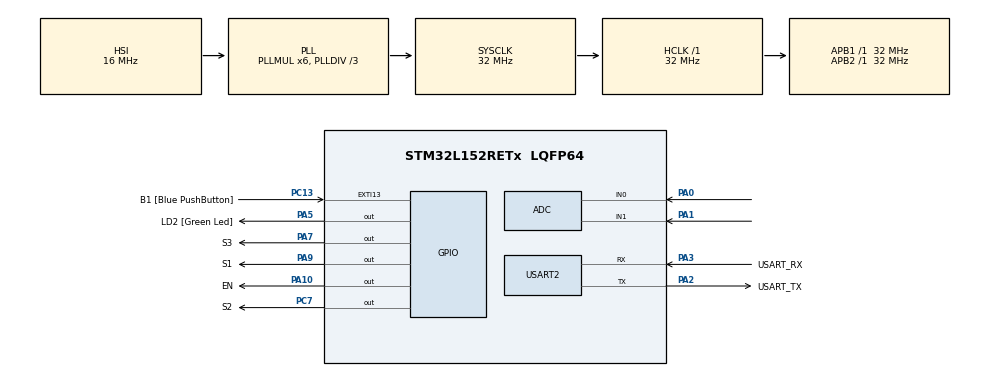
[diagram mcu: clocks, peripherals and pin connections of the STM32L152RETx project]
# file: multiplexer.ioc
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ADC.Channel-0\#ChannelRegularConversion=ADC_CHANNEL_0
ADC.NbrOfConversionFlag=1
ADC.Rank-0\#ChannelRegularConversion=1
ADC.SamplingTime-0\#ChannelRegularConversion=ADC_SAMPLETIME_4CYCLES
Mcu.Family=STM32L1
Mcu.Name=STM32L152RETx
Mcu.Package=LQFP64
NVIC.PriorityGroup=NVIC_PRIORITYGROUP_0
PA0-WKUP1.Mode=IN0
PA0-WKUP1.Signal=ADC_IN0
PA1.Mode=IN1
PA1.Signal=ADC_IN1
PA10.GPIO_Label=EN
PA10.Signal=GPIO_Output
PA13.GPIO_Label=TMS
PA13.Mode=Serial_Wire
PA13.Signal=SYS_JTMS-SWDIO
PA14.GPIO_Label=TCK
PA14.Mode=Serial_Wire
PA14.Signal=SYS_JTCK-SWCLK
PA2.GPIO_Label=USART_TX
PA2.Mode=Asynchronous
PA2.Signal=USART2_TX
PA3.GPIO_Label=USART_RX
PA3.Mode=Asynchronous
PA3.Signal=USART2_RX
PA5.GPIO_Label=LD2 [Green Led]
PA5.Signal=GPIO_Output
PA7.GPIO_Label=S3
PA7.Signal=GPIO_Output
PA9.GPIO_Label=S1
PA9.Signal=GPIO_Output
PB3.GPIO_Label=SWO
PB3.Signal=SYS_JTDO-TRACESWO
PC13-WKUP2.GPIO_Label=B1 [Blue PushButton]
PC13-WKUP2.Signal=GPXTI13
PC14-OSC32_IN.Mode=LSE-External-Oscillator
PC14-OSC32_IN.Signal=RCC_OSC32_IN
PC15-OSC32_OUT.Mode=LSE-External-Oscillator
PC15-OSC32_OUT.Signal=RCC_OSC32_OUT
PC7.GPIO_Label=S2
PC7.Signal=GPIO_Output
PH0-OSC_IN.Mode=HSE-External-Clock-Source
PH0-OSC_IN.Signal=RCC_OSC_IN
PH1-OSC_OUT.Signal=RCC_OSC_OUT
ProjectManager.HeapSize=0x200
ProjectManager.StackSize=0x400
ProjectManager.TargetToolchain=STM32CubeIDE
RCC.48MHZClocksFreq_Value=48000000
RCC.AHBFreq_Value=32000000
RCC.APB1Freq_Value=32000000
RCC.APB1TimFreq_Value=32000000
RCC.APB2Freq_Value=32000000
RCC.APB2TimFreq_Value=32000000
RCC.HCLKFreq_Value=32000000
RCC.HSE_VALUE=8000000
RCC.HSI_VALUE=16000000
RCC.MSI_VALUE=2097000
RCC.PLLDIV=RCC_PLL_DIV3
RCC.PLLMUL=RCC_PLL_MUL6
RCC.RTCClockSelectionVirtual=RCC_RTCCLKSOURCE_LSE
RCC.SYSCLKFreq_VALUE=32000000
RCC.SYSCLKSource=RCC_SYSCLKSOURCE_PLLCLK
RCC.USBOutput=48000000
RCC.VCOOutputFreq_Value=96000000
USART2.VirtualMode=VM_ASYNC
board=NUCLEO-L152RE

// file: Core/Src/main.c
/* USER CODE BEGIN Header */
/**
  ******************************************************************************
  * @file           : main.c
  * @brief          : Main program body
  ******************************************************************************
  * @attention
  *
  * Copyright (c) 2023 STMicroelectronics.
  * All rights reserved.
  *
  * This software is licensed under terms that can be found in the LICENSE file
  * in the root directory of this software component.
  * If no LICENSE file comes with this software, it is provided AS-IS.
  *
  ******************************************************************************
  */
/* USER CODE END Header */
#include "main.h"

/* USER CODE BEGIN Includes */
#include <stdio.h>
#include <string.h>
/* USER CODE END Includes */

ADC_HandleTypeDef hadc;

UART_HandleTypeDef huart2;

void SystemClock_Config(void);
static void MX_GPIO_Init(void);
static void MX_USART2_UART_Init(void);
static void MX_ADC_Init(void);

/* USER CODE BEGIN 0 */
#define SelectPinsPort GPIOA
#define Vref 3.3
#define ADC_RES 4095

const int SelectPins[3] = {S1_Pin, S2_Pin, S3_Pin};

void selectMuxPin(int pin)
{
	for(int i = 0; i < 3; i++)
	{
		if(pin & (1 << i))
			HAL_GPIO_WritePin(SelectPinsPort, SelectPins[i], GPIO_PIN_SET);
		else
			HAL_GPIO_WritePin(SelectPinsPort, SelectPins[i], GPIO_PIN_RESET);

	}
}

float value[3] = {0.0f, 0.0f ,0.0f};
/* USER CODE END 0 */

int main(void)
{
  /* USER CODE BEGIN 1 */
	uint16_t raw;
	char buffer[100];
	float voltages[3];
	float temperature;
	float TotalVoltage = 0.0f;
  /* USER CODE END 1 */

  /* MCU Configuration--------------------------------------------------------*/

  /* Reset of all peripherals, Initializes the Flash interface and the Systick. */
  HAL_Init();

  /* Configure the system clock */
  SystemClock_Config();

  /* Initialize all configured peripherals */
  MX_GPIO_Init();
  MX_USART2_UART_Init();
  MX_ADC_Init();
  /* USER CODE BEGIN 2 */
   // HAL_GPIO_WritePin(GPIOA, EN_Pin, RESET);
  for(int i = 0; i < 3; i++)
  	{

  	HAL_GPIO_WritePin(SelectPinsPort, SelectPins[i], GPIO_PIN_SET);
  	}
  /* USER CODE END 2 */

  /* Infinite loop */
  while (1)
  {

    /* USER CODE BEGIN 3 */
	  for(int i = 0; i < 3; i++)
	  {
		  selectMuxPin(i);
		  HAL_ADC_Start(&hadc);

		  HAL_ADC_PollForConversion(&hadc, HAL_MAX_DELAY);
		  value[i] = HAL_ADC_GetValue(&hadc);
		  raw = HAL_ADC_GetValue(&hadc);

		  temperature = ((float)raw / 4095.0) * 3300.0 / 10.0;

		  HAL_ADC_Stop(&hadc);

	  }

	  for(int i = 0; i < 3; i++)
	  {
		  voltages[i] = (value[i] / ADC_RES) * Vref;
		  snprintf(buffer,sizeof(buffer), "Voltage at channel(%d): %.2f\r\n",i,voltages[i]);
		  HAL_UART_Transmit(&huart2, (uint8_t*)buffer, strlen(buffer), HAL_MAX_DELAY);
		  HAL_Delay(1000);

		  TotalVoltage += voltages[i];
	  }

	  	  snprintf(buffer, sizeof(buffer), "Total Voltage: %.2f\r\n", TotalVoltage);
	      HAL_UART_Transmit(&huart2, (uint8_t*)buffer, strlen(buffer), HAL_MAX_DELAY);

	      snprintf(buffer, sizeof(buffer), "Temperature: %.2f\r\n", temperature);
	      HAL_UART_Transmit(&huart2, (uint8_t*)buffer, strlen(buffer), HAL_MAX_DELAY);

  }
  /* USER CODE END 3 */
}

void SystemClock_Config(void)
{
  RCC_OscInitTypeDef RCC_OscInitStruct = {0};
  RCC_ClkInitTypeDef RCC_ClkInitStruct = {0};

  /** Configure the main internal regulator output voltage
  */
  __HAL_PWR_VOLTAGESCALING_CONFIG(PWR_REGULATOR_VOLTAGE_SCALE1);

  /** Initializes the RCC Oscillators according to the specified parameters
  * in the RCC_OscInitTypeDef structure.
  */
  RCC_OscInitStruct.OscillatorType = RCC_OSCILLATORTYPE_HSI;
  RCC_OscInitStruct.HSIState = RCC_HSI_ON;
  RCC_OscInitStruct.HSICalibrationValue = RCC_HSICALIBRATION_DEFAULT;
  RCC_OscInitStruct.PLL.PLLState = RCC_PLL_ON;
  RCC_OscInitStruct.PLL.PLLSource = RCC_PLLSOURCE_HSI;
  RCC_OscInitStruct.PLL.PLLMUL = RCC_PLL_MUL6;
  RCC_OscInitStruct.PLL.PLLDIV = RCC_PLL_DIV3;
  if (HAL_RCC_OscConfig(&RCC_OscInitStruct) != HAL_OK)
  {
    Error_Handler();
  }

  /** Initializes the CPU, AHB and APB buses clocks
  */
  RCC_ClkInitStruct.ClockType = RCC_CLOCKTYPE_HCLK|RCC_CLOCKTYPE_SYSCLK
                              |RCC_CLOCKTYPE_PCLK1|RCC_CLOCKTYPE_PCLK2;
  RCC_ClkInitStruct.SYSCLKSource = RCC_SYSCLKSOURCE_PLLCLK;
  RCC_ClkInitStruct.AHBCLKDivider = RCC_SYSCLK_DIV1;
  RCC_ClkInitStruct.APB1CLKDivider = RCC_HCLK_DIV1;
  RCC_ClkInitStruct.APB2CLKDivider = RCC_HCLK_DIV1;

  if (HAL_RCC_ClockConfig(&RCC_ClkInitStruct, FLASH_LATENCY_1) != HAL_OK)
  {
    Error_Handler();
  }
}

static void MX_ADC_Init(void)
{

  ADC_ChannelConfTypeDef sConfig = {0};

  /** Configure the global features of the ADC (Clock, Resolution, Data Alignment and number of conversion)
  */
  hadc.Instance = ADC1;
  hadc.Init.ClockPrescaler = ADC_CLOCK_ASYNC_DIV1;
  hadc.Init.Resolution = ADC_RESOLUTION_12B;
  hadc.Init.DataAlign = ADC_DATAALIGN_RIGHT;
  hadc.Init.ScanConvMode = ADC_SCAN_DISABLE;
  hadc.Init.EOCSelection = ADC_EOC_SEQ_CONV;
  hadc.Init.LowPowerAutoWait = ADC_AUTOWAIT_DISABLE;
  hadc.Init.LowPowerAutoPowerOff = ADC_AUTOPOWEROFF_DISABLE;
  hadc.Init.ChannelsBank = ADC_CHANNELS_BANK_A;
  hadc.Init.ContinuousConvMode = DISABLE;
  hadc.Init.NbrOfConversion = 1;
  hadc.Init.DiscontinuousConvMode = DISABLE;
  hadc.Init.ExternalTrigConv = ADC_SOFTWARE_START;
  hadc.Init.ExternalTrigConvEdge = ADC_EXTERNALTRIGCONVEDGE_NONE;
  hadc.Init.DMAContinuousRequests = DISABLE;
  if (HAL_ADC_Init(&hadc) != HAL_OK)
  {
    Error_Handler();
  }

  /** Configure for the selected ADC regular channel its corresponding rank in the sequencer and its sample time.
  */
  sConfig.Channel = ADC_CHANNEL_0;
  sConfig.Rank = ADC_REGULAR_RANK_1;
  sConfig.SamplingTime = ADC_SAMPLETIME_4CYCLES;
  if (HAL_ADC_ConfigChannel(&hadc, &sConfig) != HAL_OK)
  {
    Error_Handler();
  }

}

static void MX_USART2_UART_Init(void)
{

  huart2.Instance = USART2;
  huart2.Init.BaudRate = 115200;
  huart2.Init.WordLength = UART_WORDLENGTH_8B;
  huart2.Init.StopBits = UART_STOPBITS_1;
  huart2.Init.Parity = UART_PARITY_NONE;
  huart2.Init.Mode = UART_MODE_TX_RX;
  huart2.Init.HwFlowCtl = UART_HWCONTROL_NONE;
  huart2.Init.OverSampling = UART_OVERSAMPLING_16;
  if (HAL_UART_Init(&huart2) != HAL_OK)
  {
    Error_Handler();
  }

}

static void MX_GPIO_Init(void)
{
  GPIO_InitTypeDef GPIO_InitStruct = {0};

  /* GPIO Ports Clock Enable */
  __HAL_RCC_GPIOC_CLK_ENABLE();
  __HAL_RCC_GPIOH_CLK_ENABLE();
  __HAL_RCC_GPIOA_CLK_ENABLE();
  __HAL_RCC_GPIOB_CLK_ENABLE();

  /*Configure GPIO pin Output Level */
  HAL_GPIO_WritePin(GPIOA, LD2_Pin|S3_Pin|S1_Pin|EN_Pin, GPIO_PIN_RESET);

  /*Configure GPIO pin Output Level */
  HAL_GPIO_WritePin(S2_GPIO_Port, S2_Pin, GPIO_PIN_RESET);

  /*Configure GPIO pin : B1_Pin */
  GPIO_InitStruct.Pin = B1_Pin;
  GPIO_InitStruct.Mode = GPIO_MODE_IT_RISING;
  GPIO_InitStruct.Pull = GPIO_NOPULL;
  HAL_GPIO_Init(B1_GPIO_Port, &GPIO_InitStruct);

  /*Configure GPIO pins : LD2_Pin S3_Pin S1_Pin EN_Pin */
  GPIO_InitStruct.Pin = LD2_Pin|S3_Pin|S1_Pin|EN_Pin;
  GPIO_InitStruct.Mode = GPIO_MODE_OUTPUT_PP;
  GPIO_InitStruct.Pull = GPIO_NOPULL;
  GPIO_InitStruct.Speed = GPIO_SPEED_FREQ_LOW;
  HAL_GPIO_Init(GPIOA, &GPIO_InitStruct);

  /*Configure GPIO pin : S2_Pin */
  GPIO_InitStruct.Pin = S2_Pin;
  GPIO_InitStruct.Mode = GPIO_MODE_OUTPUT_PP;
  GPIO_InitStruct.Pull = GPIO_NOPULL;
  GPIO_InitStruct.Speed = GPIO_SPEED_FREQ_LOW;
  HAL_GPIO_Init(S2_GPIO_Port, &GPIO_InitStruct);

}

void Error_Handler(void)
{
  __disable_irq();
  while (1)
  {
  }
}
